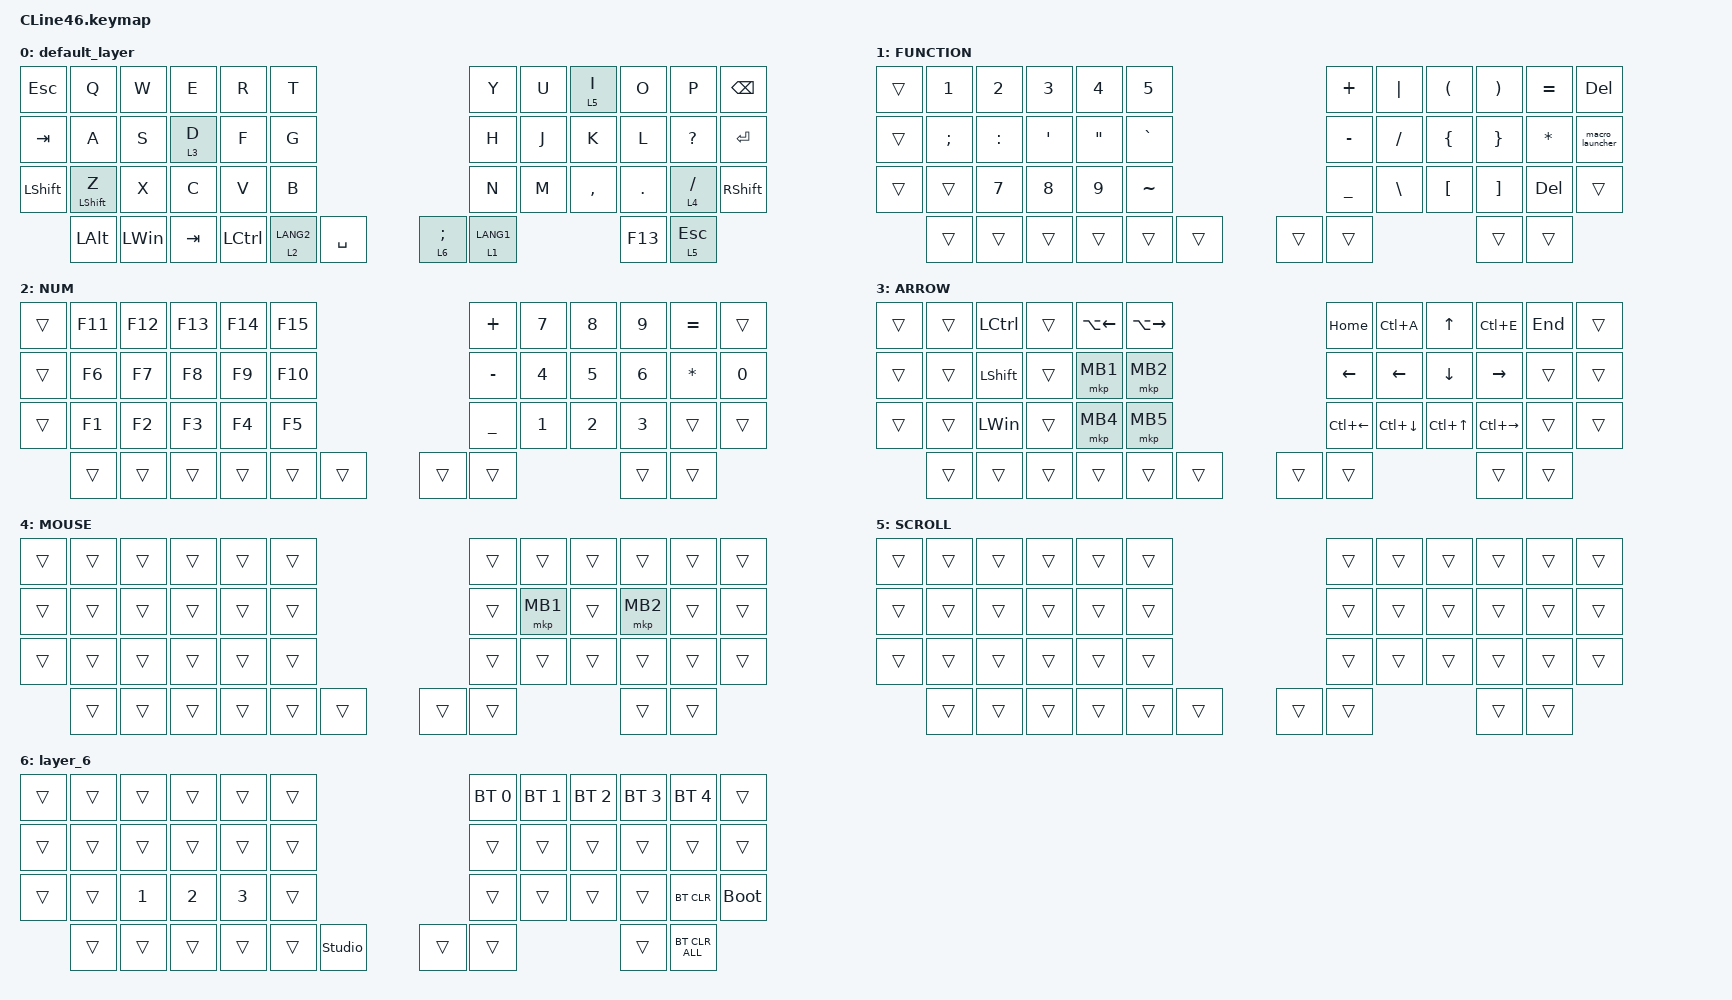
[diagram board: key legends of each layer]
#include <input/processors.dtsi>
#include <dt-bindings/zmk/input_transform.h>
#include <zephyr/dt-bindings/input/input-event-codes.h>
#include <behaviors.dtsi>
#include <dt-bindings/zmk/bt.h>
#include <dt-bindings/zmk/keys.h>
#include <dt-bindings/zmk/pointing.h>

// roBa準拠のhold-tapチューニング
&mt {
    flavor = "balanced";
    tapping-term-ms = <250>;
    quick-tap-ms = <175>;
    require-prior-idle-ms = <125>;
};

&lt {
    flavor = "hold-preferred";
    tapping-term-ms = <200>;
};

/ {
    combos {
        compatible = "zmk,combos";

        // W+E でTAB
        tab {
            bindings = <&kp TAB>;
            key-positions = <2 3>;
            layers = <0>;
        };

        // E+R でShift+TAB
        shift_tab {
            bindings = <&kp LS(TAB)>;
            key-positions = <3 4>;
            layers = <0>;
        };

        // H+J でダブルクォート
        double_quotation {
            bindings = <&kp DOUBLE_QUOTES>;
            key-positions = <18 19>;
            layers = <0>;
        };

        // N+M でコロン
        colon {
            bindings = <&kp COLON>;
            key-positions = <30 31>;
            layers = <0>;
        };

        // U+I で () + カーソル中へ
        parens {
            bindings = <&macro_parens>;
            key-positions = <7 8>;
            layers = <0 1>;
        };

        // K+L で {} + カーソル中へ
        braces {
            bindings = <&macro_braces>;
            key-positions = <20 21>;
            layers = <0>;
        };

        // ,+. で [] + カーソル中へ
        brackets {
            bindings = <&macro_brackets>;
            key-positions = <32 33>;
            layers = <0>;
        };

        // K+L で 「」+ カーソル中へ (FUNCTIONレイヤー、IME ON時)
        jp_kakko {
            bindings = <&macro_brackets>;
            key-positions = <20 21>;
            layers = <1>;
        };

        // ,+. で 『』+ カーソル中へ (FUNCTIONレイヤー、IME ON時)
        jp_nijuu_kakko {
            bindings = <&macro_braces>;
            key-positions = <32 33>;
            layers = <1>;
        };

        // V+B: 強制的にdefaultレイヤーへ戻す
        to_default {
            bindings = <&to 0>;
            key-positions = <28 29>;
        };
    };

    macros {
        to_layer_0: to_layer_0 {
            compatible = "zmk,behavior-macro-one-param";
            #binding-cells = <1>;
            bindings = <&to 0 &macro_param_1to1 &kp MACRO_PLACEHOLDER>;
            label = "TO_LAYER_0";
        };

        // () + カーソルを中へ
        macro_parens: macro_parens {
            compatible = "zmk,behavior-macro";
            #binding-cells = <0>;
            bindings = <&kp LPAR &kp RPAR &kp LEFT>;
            label = "MACRO_PARENS";
        };

        // Ctrl+Gui+Space (macOSランチャー)
        macro_launcher: macro_launcher {
            compatible = "zmk,behavior-macro";
            #binding-cells = <0>;
            bindings = <&kp LC(LG(SPACE))>;
            label = "MACRO_LAUNCHER";
        };

        // {} + カーソルを中へ
        macro_braces: macro_braces {
            compatible = "zmk,behavior-macro";
            #binding-cells = <0>;
            bindings = <&kp LBRC &kp RBRC &kp LEFT>;
            label = "MACRO_BRACES";
        };

        // [] + カーソルを中へ
        macro_brackets: macro_brackets {
            compatible = "zmk,behavior-macro";
            #binding-cells = <0>;
            bindings = <&kp LBKT &kp RBKT &kp LEFT>;
            label = "MACRO_BRACKETS";
        };

        // Alt+Space (ウィンドウ操作)
        macro_alt_space: macro_alt_space {
            compatible = "zmk,behavior-macro";
            #binding-cells = <0>;
            bindings = <&kp LA(SPACE)>;
            label = "MACRO_ALT_SPACE";
        };

        // Alt+Shift+A (アプリショートカット)
        macro_alt_shift_a: macro_alt_shift_a {
            compatible = "zmk,behavior-macro";
            #binding-cells = <0>;
            bindings = <&kp LA(LS(A))>;
            label = "MACRO_ALT_SHIFT_A";
        };
    };

    behaviors {
        // ホームポジションキー用 hold-tap (タイピング中の誤発火防止)
        lt_hp: lt_hp {
            compatible = "zmk,behavior-hold-tap";
            label = "LAYER_TAP_HOMEPOS";
            bindings = <&mo>, <&kp>;
            #binding-cells = <2>;
            flavor = "balanced";
            tapping-term-ms = <250>;
            quick-tap-ms = <175>;
            require-prior-idle-ms = <125>;
        };

        // hold時はレイヤー保持、tap時はdefaultへ復帰しつつキー送出
        lt_to_layer_0: lt_to_layer_0 {
            compatible = "zmk,behavior-hold-tap";
            label = "LAYER_TAP_TO_0";
            bindings = <&mo>, <&to_layer_0>;
            #binding-cells = <2>;
            tapping-term-ms = <200>;
        };
    };

    keymap {
        compatible = "zmk,keymap";

        // レイヤー 0: default
        // 上段外側に ESC / BSPC、中段外側に TAB / ENTER、下段外側に LSHFT / RSHFT
        // HRM: Z=LSHIFT, D=ARROW(L3), I=SCROLL(L5)
        // 親指 pos44 は roBa の F13 を踏襲
        default_layer {
            bindings = <
&kp ESC     &kp Q              &kp W   &kp E           &kp R   &kp T                                                       &kp Y     &kp U   &lt_hp 5 I  &kp O    &kp P                          &kp BSPC
&kp TAB     &kp A              &kp S   &lt_hp 3 D      &kp F   &kp G                                                       &kp H     &kp J   &kp K       &kp L    &kp QUESTION                   &kp ENTER
&kp LSHFT   &mt LEFT_SHIFT Z   &kp X   &kp C           &kp V   &kp B                                                       &kp N     &kp M   &kp COMMA   &kp DOT  &lt_to_layer_0 4 SLASH         &kp RSHFT
            &kp LALT  &kp LWIN  &kp TAB  &kp LCTRL  &lt 2 LANG2  &kp SPACE         &lt_to_layer_0 6 SEMICOLON  &lt 1 LANG1                                          &kp F13                        &lt 5 ESC
            >;
        };

        // レイヤー 1: FUNCTION (数字 + 記号 + 括弧)
        FUNCTION {
            bindings = <
&trans   &kp N1          &kp N2     &kp N3     &kp N4              &kp N5                                                  &kp PLUS        &kp PIPE        &kp LPAR  &kp RPAR  &kp EQUAL          &kp DELETE
&trans   &kp SEMICOLON   &kp COLON  &kp SQT    &kp DOUBLE_QUOTES   &kp GRAVE                                               &kp MINUS       &kp SLASH       &kp LBRC  &kp RBRC  &kp ASTERISK       &macro_launcher
&trans   &trans          &kp N7     &kp N8     &kp N9              &kp TILDE                                               &kp UNDERSCORE  &kp BACKSLASH   &kp LBKT  &kp RBKT  &kp DELETE         &trans
            &trans  &trans  &trans  &trans  &trans  &trans                              &trans  &trans                                                                          &trans              &trans
            >;
        };

        // レイヤー 2: NUM (Fキー + テンキー)
        NUM {
            bindings = <
&trans   &kp F11   &kp F12   &kp F13   &kp F14   &kp F15                                                                   &kp PLUS        &kp N7     &kp N8  &kp N9  &kp EQUAL  &trans
&trans   &kp F6    &kp F7    &kp F8    &kp F9    &kp F10                                                                   &kp MINUS       &kp N4     &kp N5  &kp N6  &kp ASTERISK  &kp N0
&trans   &kp F1    &kp F2    &kp F3    &kp F4    &kp F5                                                                    &kp UNDERSCORE  &kp N1     &kp N2  &kp N3  &trans     &trans
            &trans  &trans  &trans  &trans  &trans  &trans                              &trans  &trans                                                                          &trans              &trans
            >;
        };

        // レイヤー 3: ARROW (カーソル + 単語移動 + マウスボタン)
        ARROW {
            bindings = <
&trans   &trans   &kp LCTRL        &trans   &kp LA(LEFT_ARROW)   &kp LA(RIGHT_ARROW)                                       &kp HOME            &kp LC(A)           &kp UP_ARROW        &kp LC(E)             &kp END   &trans
&trans   &trans   &kp LEFT_SHIFT   &trans   &mkp MB1             &mkp MB2                                                  &kp LEFT_ARROW      &kp LEFT_ARROW      &kp DOWN_ARROW      &kp RIGHT_ARROW       &trans    &trans
&trans   &trans   &kp LEFT_WIN     &trans   &mkp MB4             &mkp MB5                                                  &kp LC(LEFT_ARROW)  &kp LC(DOWN_ARROW)  &kp LC(UP_ARROW)    &kp LC(RIGHT_ARROW)   &trans    &trans
            &trans  &trans  &trans  &trans  &trans  &trans                              &trans  &trans                                                                          &trans              &trans
            >;
        };

        // レイヤー 4: MOUSE (J=MB1, L=MB2)
        MOUSE {
            bindings = <
&trans   &trans   &trans   &trans   &trans   &trans                                                                        &trans   &trans     &trans   &trans     &trans   &trans
&trans   &trans   &trans   &trans   &trans   &trans                                                                        &trans   &mkp MB1   &trans   &mkp MB2   &trans   &trans
&trans   &trans   &trans   &trans   &trans   &trans                                                                        &trans   &trans     &trans   &trans     &trans   &trans
            &trans  &trans  &trans  &trans  &trans  &trans                              &trans  &trans                                                                          &trans              &trans
            >;
        };

        // レイヤー 5: SCROLL (トラックボール スクロールモード)
        SCROLL {
            bindings = <
&trans   &trans   &trans   &trans   &trans   &trans                                                                        &trans   &trans   &trans   &trans   &trans   &trans
&trans   &trans   &trans   &trans   &trans   &trans                                                                        &trans   &trans   &trans   &trans   &trans   &trans
&trans   &trans   &trans   &trans   &trans   &trans                                                                        &trans   &trans   &trans   &trans   &trans   &trans
            &trans  &trans  &trans  &trans  &trans  &trans                              &trans  &trans                                                                          &trans              &trans
            >;
        };

        // レイヤー 6: BLE管理 + ファームウェア
        // 親指pos41(SPACE)は ZMK Studio の unlock 用 (CONFIG_ZMK_STUDIO_LOCKING 有効時に必要)
        layer_6 {
            bindings = <
&trans   &trans          &trans          &trans          &trans   &trans                                                   &bt BT_SEL 0   &bt BT_SEL 1   &bt BT_SEL 2   &bt BT_SEL 3   &bt BT_SEL 4   &trans
&trans   &trans          &trans          &trans          &trans   &trans                                                   &trans         &trans         &trans         &trans         &trans         &trans
&trans   &trans          &kp NUMBER_1    &kp NUMBER_2    &kp NUMBER_3   &trans                                             &trans         &trans         &trans         &trans         &bt BT_CLR     &bootloader
            &trans  &trans  &trans  &trans  &trans  &studio_unlock                       &trans  &trans                                                                          &trans              &bt BT_CLR_ALL
            >;
        };
    };
};
